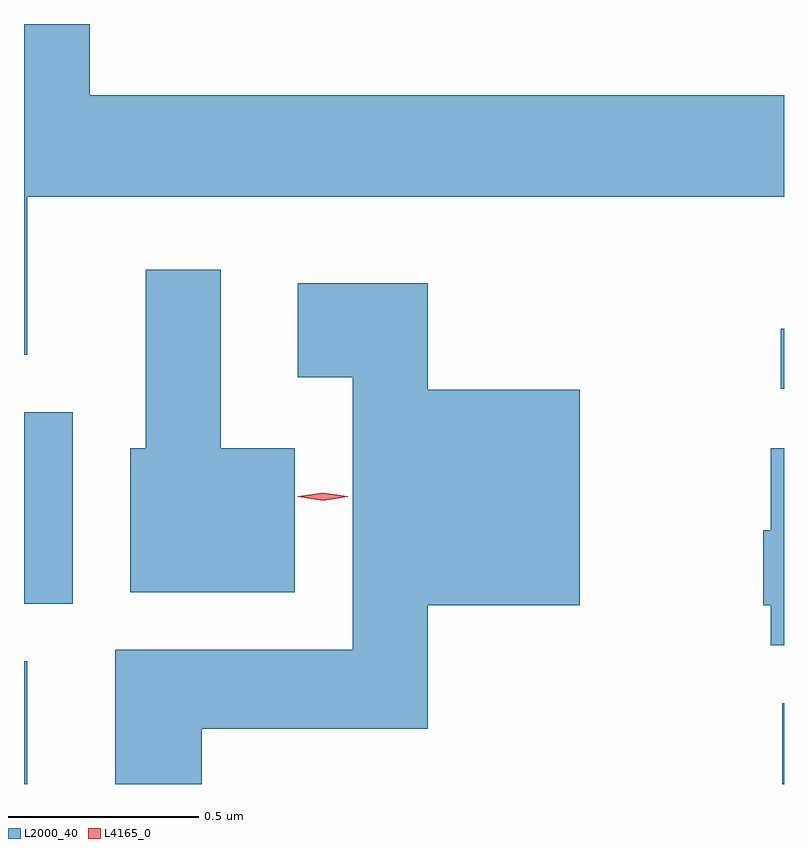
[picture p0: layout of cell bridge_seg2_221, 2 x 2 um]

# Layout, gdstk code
import gdstk
lib = gdstk.Library(unit=1e-6, precision=1e-09)
def R(c, l, rs):  # rectangles x0, y0, x1, y1
    for r in rs: c.add(gdstk.rectangle(r[:2], r[2:], *l))
def P(c, l, *ps):  # polygons
    for p in ps: c.add(gdstk.Polygon(p, *l))
L2000_40 = (2000, 40)
L4165_0 = (4165, 0)

bridge_seg2_221 = lib.new_cell('bridge_seg2_221')
R(bridge_seg2_221, L2000_40, [(974.411,986.831,974.419,987.154), (976.406,986.831,976.411,987.044), (974.411,987.306,974.539,987.809), (976.403,987.871,976.411,988.029)])
P(bridge_seg2_221, L2000_40, [(974.419,988.376),(976.411,988.376),(976.411,988.644),(974.584,988.644),(974.584,988.831),(974.411,988.831),(974.411,987.961),(974.419,987.961)],
  [(975.124,987.714),(974.929,987.714),(974.929,988.184),(974.731,988.184),(974.731,987.714),(974.691,987.714),(974.691,987.336),(975.124,987.336)],
  [(974.879,986.976),(975.474,986.976),(975.474,987.301),(975.874,987.301),(975.874,987.869),(975.474,987.869),(975.474,988.149),(975.131,988.149),(975.131,987.901),(975.276,987.901),(975.276,987.184),(974.651,987.184),(974.651,986.831),(974.879,986.831)],
  [(976.411,987.714),(976.376,987.714),(976.376,987.499),(976.356,987.499),(976.356,987.301),(976.376,987.301),(976.376,987.196),(976.411,987.196)])
P(bridge_seg2_221, L4165_0, [(975.198,987.577),(975.132,987.587),(975.131,987.587),(975.132,987.588),(975.198,987.597),(975.263,987.588),(975.264,987.587),(975.263,987.587)])

lib.write_gds('bridge_seg2_221.gds')
